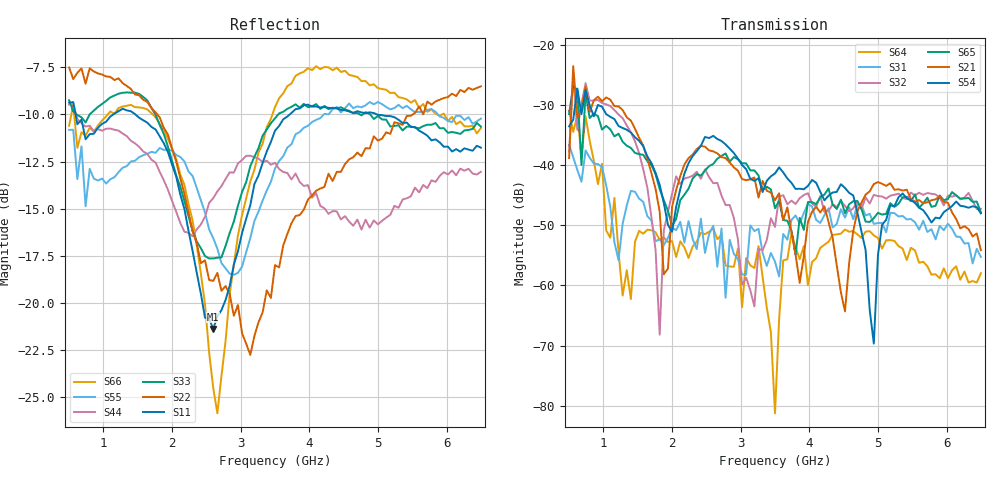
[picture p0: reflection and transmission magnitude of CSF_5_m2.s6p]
!Keysight Technologies,M9804A,MY58100912,A.14.10.03
!Date: Thursday, April 27, 2023 10:28:33
!Correction: S11(C  6-Port  )
!S12(C  6-Port  )
!S13(C  6-Port  )
!S14(C  6-Port  )
!S15(C  6-Port  )
!S16(C  6-Port  )
!S21(C  6-Port  )
!S22(C  6-Port  )
!S23(C  6-Port  )
!S24(C  6-Port  )
!S25(C  6-Port  )
!S26(C  6-Port  )
!S31(C  6-Port  )
!S32(C  6-Port  )
!S33(C  6-Port  )
!S34(C  6-Port  )
!S35(C  6-Port  )
!S36(C  6-Port  )
!S41(C  6-Port  )
!S42(C  6-Port  )
!S43(C  6-Port  )
!S44(C  6-Port  )
!S45(C  6-Port  )
!S46(C  6-Port  )
!S51(C  6-Port  )
!S52(C  6-Port  )
!S53(C  6-Port  )
!S54(C  6-Port  )
!S55(C  6-Port  )
!S56(C  6-Port  )
!S61(C  6-Port  )
!S62(C  6-Port  )
!S63(C  6-Port  )
!S64(C  6-Port  )
!S65(C  6-Port  )
!S66(C  6-Port  )
!S6P File: Measurement: :
# Hz S  RI  R 50
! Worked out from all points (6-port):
!   101 points, 500 MHz to 6.5 GHz, reference 50 ohm
!   strongest paths, dB at 500 MHz, 2 GHz, 3.5 GHz, 5 GHz, 6.5 GHz:
!     S54: -33.6, -51.1, -41.4, -55.0, -48.0
!     S21: -38.8, -47.0, -45.8, -42.8, -54.1
!     S65: -31.5, -50.1, -47.2, -47.9, -47.9
!     S32: -37.8, -44.8, -50.3, -45.2, -47.3
!     S31: -36.6, -50.5, -56.1, -49.6, -55.3
!     S64: -31.0, -52.6, -81.3, -52.1, -58.0
!   lowest |S11| = -21.4 dB at 2.6 GHz (marker M1), VSWR 1.19, Z = 42.5 + j2.28 ohm
!   |S11| at or under -10 dB: 593.4 MHz to 1.143 GHz (550 MHz wide, 63.3 % of centre); 1.466 GHz to 3.715 GHz (2.248 GHz wide, 86.8 % of centre); 4.987 GHz to end of sweep
